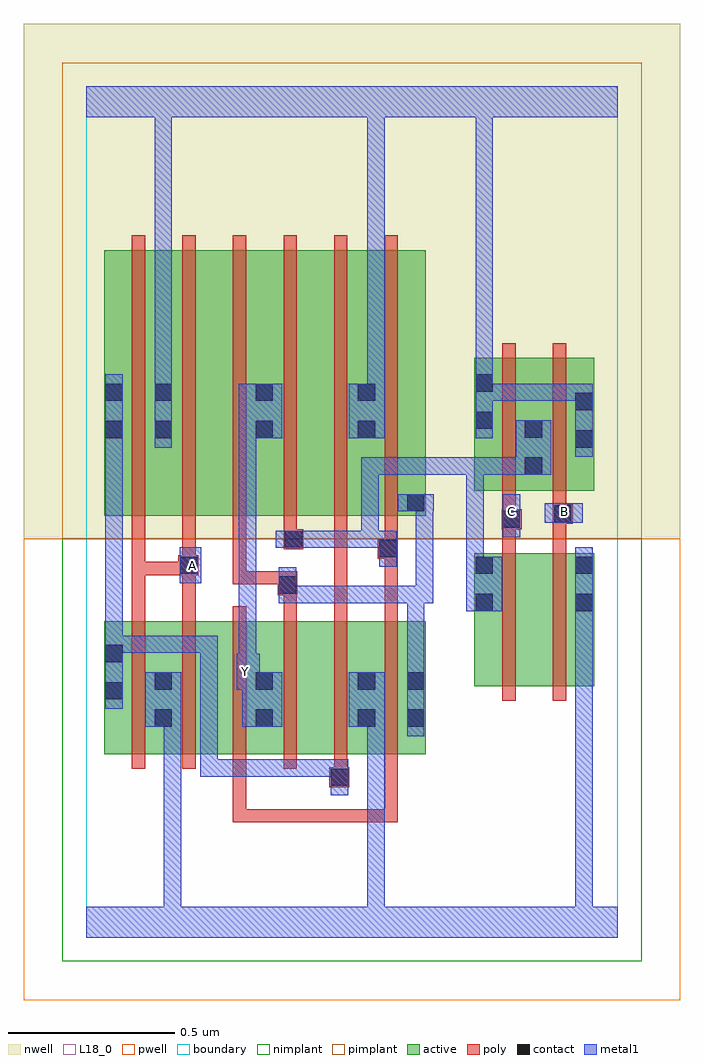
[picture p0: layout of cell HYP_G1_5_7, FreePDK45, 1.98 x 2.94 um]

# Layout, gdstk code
import gdstk
lib = gdstk.Library(unit=1e-6, precision=1e-09)
def R(c, l, rs):  # rectangles x0, y0, x1, y1
    for r in rs: c.add(gdstk.rectangle(r[:2], r[2:], *l))
def A(c, l, x, y, w, h, nx, ny, dx, dy):  # array of equal rectangles
    R(c, l, [(x+i*dx, y+j*dy, x+i*dx+w, y+j*dy+h) for i in range(nx) for j in range(ny)])
active = (1, 0)
pwell = (2, 0)
nwell = (3, 0)
nimplant = (4, 0)
pimplant = (5, 0)
poly = (9, 0)
contact = (10, 0)
metal1 = (11, 0)
L18_0 = (18, 0)
boundary = (235, 0)

hyp_g1_5_7 = lib.new_cell('HYP_G1_5_7')
R(hyp_g1_5_7, active, [(0.054,0.552,0.114,0.952), (0.054,0.552,0.262,0.952), (0.202,0.552,0.262,0.952), (0.202,0.552,0.386,0.952), (0.386,0.552,0.566,0.952), (0.506,0.552,0.566,0.952), (0.506,0.552,0.69,0.952), (0.69,0.552,0.874,0.952), (0.814,0.552,0.874,0.952), (0.814,0.552,1.022,0.952), (0.962,0.552,1.022,0.952), (1.168,0.756,1.228,1.156), (1.168,0.756,1.348,1.156), (1.348,0.756,1.528,1.156), (1.468,0.756,1.528,1.156), (0.054,1.268,0.262,2.068), (0.054,1.268,0.114,2.068), (0.202,1.268,0.262,2.044), (0.202,1.268,0.386,2.068), (0.386,1.268,0.566,2.068), (0.506,1.268,0.566,2.044), (0.506,1.268,0.69,2.068), (0.69,1.268,0.874,2.068), (0.814,1.268,1.022,2.068), (0.962,1.268,1.022,2.044), (1.168,1.344,1.376,1.744), (1.316,1.344,1.376,1.744), (1.316,1.344,1.528,1.744), (1.468,1.344,1.528,1.744), (0.814,1.452,0.874,2.044), (1.168,1.452,1.228,1.744)])
R(hyp_g1_5_7, pwell, [(-0.188,-0.188,1.788,1.2)])
R(hyp_g1_5_7, nwell, [(-0.188,1.2,1.788,2.748)])
R(hyp_g1_5_7, nimplant, [(-0.072,-0.072,1.672,1.2)])
R(hyp_g1_5_7, pimplant, [(-0.072,1.2,1.672,2.632)])
A(hyp_g1_5_7, poly, 0.138, 0.508, 0.04, 0.488, 6, 1, 0.152, 0)
A(hyp_g1_5_7, poly, 0.138, 1.224, 0.04, 0.888, 6, 1, 0.152, 0)
R(hyp_g1_5_7, poly, [(0.442,0.346,0.482,0.386), (0.442,0.346,0.482,0.386), (0.442,0.346,0.482,0.386), (0.442,0.346,0.482,0.548), (0.442,0.346,0.65,0.386), (0.61,0.346,0.65,0.386), (0.61,0.346,0.65,0.386), (0.61,0.346,0.65,0.386), (0.61,0.346,0.65,0.386), (0.61,0.346,0.65,0.386), (0.61,0.346,0.76,0.386), (0.72,0.346,0.76,0.386), (0.72,0.346,0.76,0.386), (0.72,0.346,0.76,0.386), (0.72,0.346,0.938,0.386), (0.898,0.346,0.938,0.386), (0.898,0.346,0.938,0.386), (0.898,0.346,0.938,0.386), (0.898,0.346,0.938,0.548), (0.732,0.452,0.792,0.512), (0.746,0.472,0.786,0.548), (1.252,0.712,1.292,1.2), (1.404,0.712,1.444,1.2), (0.138,0.956,0.178,1.13), (0.29,0.956,0.33,1.13), (0.594,0.956,0.634,1.07), (0.746,0.956,0.786,1.032), (0.898,0.956,0.938,1.18), (0.746,0.992,0.786,1.032), (0.746,0.992,0.786,1.032), (0.746,0.992,0.786,1.032), (0.746,0.992,0.786,1.264), (0.576,1.03,0.636,1.102), (0.442,1.062,0.482,1.102), (0.442,1.062,0.482,1.102), (0.442,1.062,0.482,1.102), (0.442,1.062,0.482,1.102), (0.442,1.062,0.482,1.102), (0.442,1.062,0.482,1.264), (0.442,1.062,0.616,1.102), (0.138,1.09,0.178,1.13), (0.138,1.09,0.178,1.13), (0.138,1.09,0.178,1.13), (0.138,1.09,0.178,1.13), (0.138,1.09,0.178,1.13), (0.138,1.09,0.178,1.264), (0.138,1.09,0.318,1.13), (0.278,1.09,0.338,1.15), (0.29,1.11,0.33,1.15), (0.29,1.11,0.33,1.15), (0.29,1.11,0.33,1.264), (0.878,1.14,0.938,1.2), (0.898,1.14,0.938,1.18), (0.898,1.14,0.938,1.18), (0.898,1.16,0.938,1.264), (1.252,1.16,1.292,1.268), (1.404,1.16,1.444,1.284), (0.594,1.168,0.654,1.228), (0.594,1.188,0.634,1.264), (1.25,1.228,1.31,1.288), (1.404,1.244,1.464,1.304), (1.252,1.248,1.292,1.288), (1.252,1.248,1.292,1.288), (1.252,1.248,1.292,1.34), (1.404,1.264,1.444,1.34), (1.404,1.264,1.444,1.304), (1.404,1.264,1.444,1.304), (1.252,1.3,1.292,1.788), (1.404,1.3,1.444,1.788)])
R(hyp_g1_5_7, contact, [(0.736,0.456,0.788,0.508), (0.206,0.634,0.258,0.686), (0.51,0.634,0.562,0.686), (0.818,0.634,0.87,0.686), (0.966,0.634,1.018,0.686), (0.058,0.716,0.11,0.768), (0.206,0.746,0.258,0.798), (0.51,0.746,0.562,0.798), (0.818,0.746,0.87,0.798), (0.966,0.746,1.018,0.798), (0.058,0.828,0.11,0.88), (1.172,0.982,1.224,1.034), (1.472,0.982,1.524,1.034), (0.58,1.034,0.632,1.086), (0.282,1.094,0.334,1.146), (1.172,1.094,1.224,1.146), (1.472,1.094,1.524,1.146), (0.882,1.144,0.934,1.196), (0.598,1.172,0.65,1.224), (1.254,1.232,1.306,1.284), (1.408,1.248,1.46,1.3), (0.966,1.282,1.018,1.334), (1.32,1.392,1.372,1.444), (1.472,1.474,1.524,1.526), (0.058,1.502,0.11,1.554), (0.206,1.502,0.258,1.554), (0.51,1.502,0.562,1.554), (0.818,1.502,0.87,1.554), (1.32,1.504,1.372,1.556), (1.172,1.53,1.224,1.582), (1.472,1.586,1.524,1.638), (0.058,1.614,0.11,1.666), (0.206,1.614,0.258,1.666), (0.51,1.614,0.562,1.666), (0.818,1.614,0.87,1.666), (1.172,1.642,1.224,1.694)])
R(hyp_g1_5_7, metal1, [(0,0,1.6,0.092), (0.234,0.04,0.286,0.092), (0.234,0.04,0.286,0.092), (0.234,0.04,0.286,0.092), (0.234,0.04,0.286,0.092), (0.234,0.04,0.286,0.092), (0.234,0.04,0.286,0.092), (0.234,0.04,0.286,0.092), (0.234,0.04,0.286,0.092), (0.234,0.04,0.286,0.092), (0.234,0.04,0.286,0.092), (0.234,0.04,0.286,0.092), (0.234,0.04,0.286,0.092), (0.234,0.04,0.286,0.686), (0.846,0.04,0.898,0.092), (0.846,0.04,0.898,0.092), (0.846,0.04,0.898,0.686), (1.472,0.04,1.524,0.092), (1.472,0.04,1.524,0.092), (1.472,0.04,1.524,1.006), (0.736,0.428,0.788,0.536), (0.344,0.484,0.396,0.536), (0.344,0.484,0.396,0.536), (0.344,0.484,0.396,0.536), (0.344,0.484,0.512,0.536), (0.344,0.484,0.396,0.908), (0.46,0.484,0.512,0.536), (0.46,0.484,0.512,0.536), (0.46,0.484,0.512,0.536), (0.46,0.484,0.512,0.536), (0.46,0.484,0.512,0.536), (0.46,0.484,0.632,0.536), (0.58,0.484,0.632,0.536), (0.58,0.484,0.632,0.536), (0.58,0.484,0.632,0.536), (0.58,0.484,0.788,0.536), (0.966,0.606,1.018,0.826), (0.178,0.634,0.286,0.798), (0.47,0.634,0.59,0.798), (0.79,0.634,0.898,0.798), (0.846,0.634,0.898,0.686), (0.846,0.634,0.898,0.686), (0.846,0.634,0.898,0.686), (0.846,0.634,0.898,0.686), (0.846,0.634,0.898,0.686), (0.846,0.634,0.898,0.686), (0.846,0.634,0.898,0.686), (0.846,0.634,0.898,0.686), (0.846,0.634,0.898,0.686), (0.846,0.634,0.898,0.686), (0.058,0.688,0.11,0.908), (0.454,0.746,0.522,0.854), (0.47,0.746,0.522,0.798), (0.966,0.774,1.018,1.058), (0.46,0.802,0.512,0.854), (0.46,0.802,0.512,0.854), (0.46,0.802,0.512,1.554), (0.058,0.856,0.11,0.908), (0.058,0.856,0.11,0.908), (0.058,0.856,0.22,0.908), (0.058,0.856,0.11,1.526), (0.168,0.856,0.22,0.908), (0.168,0.856,0.22,0.908), (0.168,0.856,0.22,0.908), (0.168,0.856,0.396,0.908), (0.344,0.856,0.396,0.908), (0.344,0.856,0.396,0.908), (0.344,0.856,0.396,0.908), (1.472,0.954,1.524,1.174), (1.472,0.954,1.524,1.006), (1.472,0.954,1.524,1.006), (1.472,0.954,1.524,1.006), (1.472,0.954,1.524,1.006), (1.472,0.954,1.524,1.006), (1.472,0.954,1.524,1.006), (1.472,0.954,1.524,1.006), (1.472,0.954,1.524,1.006), (1.472,0.954,1.524,1.006), (1.472,0.954,1.524,1.006), (1.144,0.982,1.252,1.146), (0.58,1.006,0.632,1.058), (0.58,1.006,0.632,1.058), (0.58,1.006,0.632,1.114), (0.58,1.006,0.788,1.058), (0.736,1.006,0.788,1.058), (0.736,1.006,0.788,1.058), (0.736,1.006,0.788,1.058), (0.736,1.006,1.018,1.058), (0.966,1.006,1.018,1.058), (0.966,1.006,1.018,1.058), (0.966,1.006,1.044,1.058), (0.992,1.006,1.044,1.058), (0.992,1.006,1.044,1.058), (0.992,1.006,1.044,1.334), (0.282,1.066,0.346,1.174), (1.144,1.094,1.196,1.146), (1.144,1.094,1.196,1.146), (1.144,1.094,1.196,1.444), (0.882,1.116,0.934,1.224), (0.57,1.172,0.678,1.224), (0.626,1.172,0.678,1.224), (0.626,1.172,0.678,1.224), (0.626,1.172,0.788,1.224), (0.736,1.172,0.788,1.224), (0.736,1.172,0.88,1.224), (0.828,1.172,0.88,1.224), (0.828,1.172,0.934,1.224), (0.828,1.172,0.88,1.444), (1.254,1.204,1.306,1.334), (1.38,1.248,1.494,1.306), (0.938,1.282,1.046,1.334), (0.828,1.392,0.88,1.444), (0.828,1.392,0.88,1.444), (0.828,1.392,0.88,1.444), (0.828,1.392,1.084,1.444), (1.032,1.392,1.084,1.444), (1.032,1.392,1.084,1.444), (1.032,1.392,1.084,1.444), (1.032,1.392,1.196,1.444), (1.144,1.392,1.196,1.444), (1.144,1.392,1.196,1.444), (1.144,1.392,1.196,1.444), (1.144,1.392,1.196,1.444), (1.144,1.392,1.196,1.444), (1.144,1.392,1.196,1.444), (1.144,1.392,1.196,1.444), (1.144,1.392,1.344,1.444), (1.292,1.392,1.4,1.556), (1.472,1.446,1.524,1.666), (0.058,1.474,0.11,1.694), (0.058,1.474,0.11,1.526), (0.058,1.474,0.11,1.526), (0.058,1.474,0.11,1.526), (0.058,1.474,0.11,1.526), (0.206,1.474,0.258,1.694), (0.46,1.502,0.59,1.666), (0.79,1.502,0.898,1.666), (1.172,1.502,1.224,1.722), (0.846,1.614,0.898,2.52), (1.172,1.614,1.224,1.666), (1.172,1.614,1.224,1.666), (1.172,1.614,1.334,1.666), (1.282,1.614,1.524,1.666), (1.282,1.614,1.334,1.666), (1.282,1.614,1.334,1.666), (1.282,1.614,1.334,1.666), (0.206,1.642,0.258,1.694), (0.206,1.642,0.258,1.694), (0.206,1.642,0.258,2.52), (1.172,1.67,1.224,2.52), (0,2.468,1.6,2.56), (0.206,2.468,0.258,2.52), (0.206,2.468,0.258,2.52), (0.206,2.468,0.258,2.52), (0.206,2.468,0.258,2.52), (0.206,2.468,0.258,2.52), (0.206,2.468,0.258,2.52), (0.846,2.468,0.898,2.52), (0.846,2.468,0.898,2.52), (0.846,2.468,0.898,2.52), (0.846,2.468,0.898,2.52), (0.846,2.468,0.898,2.52), (0.846,2.468,0.898,2.52), (0.846,2.468,0.898,2.52), (0.846,2.468,0.898,2.52), (1.172,2.468,1.224,2.52), (1.172,2.468,1.224,2.52), (1.172,2.468,1.224,2.52), (1.172,2.468,1.224,2.52), (1.172,2.468,1.224,2.52), (1.172,2.468,1.224,2.52), (1.172,2.468,1.224,2.52), (1.172,2.468,1.224,2.52), (1.172,2.468,1.224,2.52), (1.172,2.468,1.224,2.52), (1.172,2.468,1.224,2.52), (1.172,2.468,1.224,2.52), (1.172,2.468,1.224,2.52), (1.172,2.468,1.224,2.52), (1.172,2.468,1.224,2.52), (1.172,2.468,1.224,2.52)])
R(hyp_g1_5_7, L18_0, [(0,0,1.6,0.092), (0.234,0.04,0.286,0.092), (0.234,0.04,0.286,0.092), (0.234,0.04,0.286,0.092), (0.234,0.04,0.286,0.092), (0.234,0.04,0.286,0.092), (0.234,0.04,0.286,0.092), (0.234,0.04,0.286,0.092), (0.234,0.04,0.286,0.092), (0.234,0.04,0.286,0.092), (0.234,0.04,0.286,0.092), (0.234,0.04,0.286,0.092), (0.234,0.04,0.286,0.092), (0.234,0.04,0.286,0.686), (0.846,0.04,0.898,0.092), (0.846,0.04,0.898,0.092), (0.846,0.04,0.898,0.686), (1.472,0.04,1.524,0.092), (1.472,0.04,1.524,0.092), (1.472,0.04,1.524,1.006), (0.178,0.634,0.286,0.798), (0.47,0.634,0.59,0.798), (0.79,0.634,0.898,0.798), (0.846,0.634,0.898,0.686), (0.846,0.634,0.898,0.686), (0.846,0.634,0.898,0.686), (0.846,0.634,0.898,0.686), (0.846,0.634,0.898,0.686), (0.846,0.634,0.898,0.686), (0.846,0.634,0.898,0.686), (0.846,0.634,0.898,0.686), (0.846,0.634,0.898,0.686), (0.846,0.634,0.898,0.686), (0.454,0.746,0.522,0.854), (0.47,0.746,0.522,0.798), (0.454,0.774,0.506,0.826), (0.46,0.802,0.512,0.854), (0.46,0.802,0.512,0.854), (0.46,0.802,0.512,1.554), (1.472,0.954,1.524,1.006), (1.472,0.954,1.524,1.006), (1.472,0.954,1.524,1.006), (1.472,0.954,1.524,1.006), (1.472,0.954,1.524,1.006), (1.472,0.954,1.524,1.006), (1.472,0.954,1.524,1.006), (1.472,0.954,1.524,1.006), (1.472,0.954,1.524,1.006), (1.472,0.954,1.524,1.006), (1.472,0.954,1.524,1.174), (0.282,1.066,0.346,1.174), (0.294,1.094,0.346,1.146), (1.254,1.204,1.306,1.334), (1.38,1.248,1.494,1.306), (1.254,1.254,1.306,1.306), (1.414,1.254,1.466,1.306), (1.472,1.446,1.524,1.666), (0.206,1.474,0.258,1.694), (0.46,1.502,0.59,1.666), (0.79,1.502,0.898,1.666), (1.172,1.502,1.224,1.722), (0.846,1.614,0.898,2.52), (1.172,1.614,1.224,1.666), (1.172,1.614,1.224,1.666), (1.172,1.614,1.334,1.666), (1.282,1.614,1.334,1.666), (1.282,1.614,1.334,1.666), (1.282,1.614,1.334,1.666), (1.282,1.614,1.524,1.666), (0.206,1.642,0.258,1.694), (0.206,1.642,0.258,1.694), (0.206,1.642,0.258,2.52), (1.172,1.67,1.224,2.52), (0,2.468,1.6,2.56), (0.206,2.468,0.258,2.52), (0.206,2.468,0.258,2.52), (0.206,2.468,0.258,2.52), (0.206,2.468,0.258,2.52), (0.206,2.468,0.258,2.52), (0.206,2.468,0.258,2.52), (0.846,2.468,0.898,2.52), (0.846,2.468,0.898,2.52), (0.846,2.468,0.898,2.52), (0.846,2.468,0.898,2.52), (0.846,2.468,0.898,2.52), (0.846,2.468,0.898,2.52), (0.846,2.468,0.898,2.52), (0.846,2.468,0.898,2.52), (1.172,2.468,1.224,2.52), (1.172,2.468,1.224,2.52), (1.172,2.468,1.224,2.52), (1.172,2.468,1.224,2.52), (1.172,2.468,1.224,2.52), (1.172,2.468,1.224,2.52), (1.172,2.468,1.224,2.52), (1.172,2.468,1.224,2.52), (1.172,2.468,1.224,2.52), (1.172,2.468,1.224,2.52), (1.172,2.468,1.224,2.52), (1.172,2.468,1.224,2.52), (1.172,2.468,1.224,2.52), (1.172,2.468,1.224,2.52), (1.172,2.468,1.224,2.52), (1.172,2.468,1.224,2.52)])
R(hyp_g1_5_7, boundary, [(0,0,1.6,2.56)])
hyp_g1_5_7.add(gdstk.Label('A', (0.32,1.12), layer=11, texttype=0))
hyp_g1_5_7.add(gdstk.Label('B', (1.44,1.28), layer=11, texttype=0))
hyp_g1_5_7.add(gdstk.Label('C', (1.28,1.28), layer=11, texttype=0))
hyp_g1_5_7.add(gdstk.Label('Y', (0.48,0.8), layer=11, texttype=0))

lib.write_gds('HYP_G1_5_7.gds')
